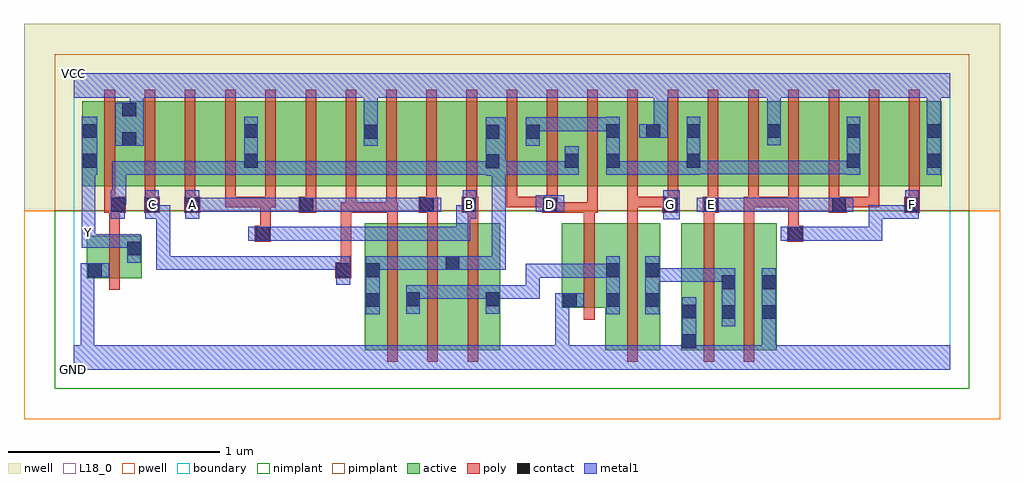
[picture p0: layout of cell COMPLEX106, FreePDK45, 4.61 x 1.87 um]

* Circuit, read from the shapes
.subckt COMPLEX106 A B C D E F G GND VCC Y
M1 Y n1 GND VSUBS nfet w=0.2u l=0.05u
M2 n2 C n1 VSUBS nfet w=0.6u l=0.05u
M3 n1 A n2 VSUBS nfet w=0.6u l=0.05u
M4 n2 B n1 VSUBS nfet w=0.6u l=0.05u
M5 n2 D GND VSUBS nfet w=0.4u l=0.05u
M6 n3 G n2 VSUBS nfet w=0.6u l=0.05u
M7 n3 E GND VSUBS nfet w=0.6u l=0.05u
M8 GND F n3 VSUBS nfet w=0.6u l=0.05u
M9 VCC n1 Y n4 pfet w=0.4u l=0.05u
M10 n5 C VCC n4 pfet w=0.4u l=0.05u
M11 n6 A n5 n4 pfet w=0.4u l=0.05u
M12 n1 B n6 n4 pfet w=0.4u l=0.05u
M13 n7 B n1 n4 pfet w=0.4u l=0.05u
M14 n8 A n7 n4 pfet w=0.4u l=0.05u
M15 VCC C n8 n4 pfet w=0.4u l=0.05u
M16 n9 C VCC n4 pfet w=0.4u l=0.05u
M17 n10 A n9 n4 pfet w=0.4u l=0.05u
M18 n1 B n10 n4 pfet w=0.4u l=0.05u
M19 n11 D n1 n4 pfet w=0.4u l=0.05u m=3
M20 VCC G n11 n4 pfet w=0.4u l=0.05u m=2
M21 n12 E n11 n4 pfet w=0.4u l=0.05u
M22 VCC F n12 n4 pfet w=0.4u l=0.05u
M23 n13 F VCC n4 pfet w=0.4u l=0.05u
M24 n11 E n13 n4 pfet w=0.4u l=0.05u
M25 n14 E n11 n4 pfet w=0.4u l=0.05u
M26 VCC F n14 n4 pfet w=0.4u l=0.05u
.ends

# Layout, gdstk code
import gdstk
lib = gdstk.Library(unit=1e-6, precision=1e-09)
def R(c, l, rs):  # rectangles x0, y0, x1, y1
    for r in rs: c.add(gdstk.rectangle(r[:2], r[2:], *l))
def A(c, l, x, y, w, h, nx, ny, dx, dy):  # array of equal rectangles
    R(c, l, [(x+i*dx, y+j*dy, x+i*dx+w, y+j*dy+h) for i in range(nx) for j in range(ny)])
active = (1, 0)
pwell = (2, 0)
nwell = (3, 0)
nimplant = (4, 0)
pimplant = (5, 0)
poly = (9, 0)
contact = (10, 0)
metal1 = (11, 0)
L18_0 = (18, 0)
boundary = (235, 0)

complex106 = lib.new_cell('COMPLEX106')
A(complex106, active, 0.455, 0.867, 0.19, 0.4, 3, 1, 0.57, 0)
A(complex106, active, 2.13, 0.867, 0.075, 0.333, 3, 1, 0.38, 0)
R(complex106, active, [(1.375,0.092,1.64,0.692), (1.565,0.092,1.827,0.692), (1.752,0.092,2.015,0.692), (2.51,0.092,2.77,0.692), (2.87,0.092,3.13,0.692), (2.87,0.092,2.945,0.692), (3.055,0.092,3.32,0.692), (1.375,0.095,1.45,0.692), (1.565,0.095,1.64,0.68), (1.752,0.095,1.827,0.692), (1.94,0.095,2.015,0.692), (2.695,0.095,2.77,0.692), (3.055,0.095,3.13,0.692), (3.245,0.095,3.32,0.692), (2.51,0.2,2.585,0.507), (2.305,0.292,2.585,0.692), (2.305,0.292,2.38,0.597), (0.062,0.432,0.137,0.632), (0.062,0.432,0.322,0.632), (0.247,0.432,0.322,0.632), (0.04,0.867,0.115,1.2), (0.04,0.867,0.3,1.267), (0.225,0.867,0.3,1.267), (0.225,0.867,0.455,1.267), (0.645,0.867,0.875,1.267), (0.8,0.867,1.025,1.267), (0.8,0.867,0.875,1.2), (1.215,0.867,1.44,1.267), (1.365,0.867,1.44,1.267), (1.365,0.867,1.595,1.267), (1.785,0.867,2.015,1.267), (1.94,0.867,2.015,1.2), (1.94,0.867,2.205,1.267), (2.13,0.867,2.39,1.267), (2.315,0.867,2.585,1.267), (2.315,0.867,2.39,1.07), (2.51,0.867,2.775,1.267), (2.7,0.867,2.775,1.267), (2.7,0.867,2.965,1.267), (2.89,0.867,3.115,1.267), (3.115,0.867,3.345,1.267), (3.27,0.867,3.345,1.267), (3.27,0.867,3.495,1.267), (3.495,0.867,3.72,1.267), (3.645,0.867,3.875,1.267), (3.645,0.867,3.72,1.2), (3.875,0.867,4.1,1.267), (4.025,0.867,4.1,1.267)])
R(complex106, pwell, [(-0.235,-0.235,4.375,0.75)])
R(complex106, nwell, [(-0.235,0.75,4.375,1.635)])
R(complex106, nimplant, [(-0.09,-0.09,4.23,0.75)])
R(complex106, pimplant, [(-0.09,0.75,4.23,1.49)])
A(complex106, poly, 1.48, 0.037, 0.05, 0.71, 3, 1, 0.19, 0)
A(complex106, poly, 1.48, 0.697, 0.05, 0.095, 3, 1, 0.19, 0)
A(complex106, poly, 0.145, 0.767, 0.05, 0.095, 6, 1, 0.19, 0)
A(complex106, poly, 1.665, 0.767, 0.05, 0.095, 4, 1, 0.19, 0)
A(complex106, poly, 2.615, 0.767, 0.05, 0.095, 8, 1, 0.19, 0)
A(complex106, poly, 0.145, 0.812, 0.05, 0.51, 21, 1, 0.19, 0)
R(complex106, poly, [(2.615,0.037,2.665,0.747), (2.975,0.037,3.025,0.747), (3.165,0.037,3.215,0.747), (2.41,0.237,2.46,0.747), (0.167,0.377,0.217,0.687), (1.235,0.432,1.31,0.507), (1.26,0.457,1.31,0.792), (0.855,0.605,0.93,0.68), (3.37,0.605,3.445,0.68), (0.88,0.63,0.93,0.68), (0.88,0.63,0.93,0.68), (0.88,0.63,0.93,0.817), (3.375,0.63,3.425,0.817), (0.167,0.637,0.217,0.792), (2.41,0.697,2.46,0.792), (2.615,0.697,2.665,0.817), (2.975,0.697,3.025,0.792), (3.165,0.697,3.215,0.817), (0.145,0.742,0.245,0.817), (0.332,0.742,0.407,0.817), (0.522,0.742,0.597,0.817), (1.062,0.742,1.145,0.817), (1.26,0.742,1.31,0.792), (1.26,0.742,1.31,0.792), (1.26,0.742,1.335,0.792), (1.285,0.742,1.525,0.792), (1.285,0.742,1.335,0.862), (1.475,0.742,1.525,0.792), (1.475,0.742,1.525,0.792), (1.475,0.742,1.525,0.862), (1.475,0.742,1.53,0.792), (1.63,0.742,1.72,0.817), (1.832,0.742,1.91,0.817), (2.212,0.742,2.287,0.817), (2.237,0.742,2.287,0.792), (2.237,0.742,2.287,0.792), (2.237,0.742,2.46,0.792), (2.41,0.742,2.475,0.792), (2.425,0.742,2.475,0.862), (2.78,0.742,2.855,0.817), (2.972,0.742,3.047,0.817), (3.565,0.742,3.652,0.817), (3.922,0.742,3.997,0.817), (0.715,0.767,0.765,0.817), (0.715,0.767,0.93,0.817), (0.88,0.767,0.93,0.817), (0.88,0.767,0.93,0.817), (0.88,0.767,0.955,0.817), (2.045,0.767,2.095,0.817), (2.045,0.767,2.095,0.817), (2.045,0.767,2.095,0.817), (2.045,0.767,2.262,0.817), (2.615,0.767,2.665,0.817), (2.615,0.767,2.665,0.817), (2.615,0.767,2.665,0.817), (2.615,0.767,2.83,0.817), (3.165,0.767,3.235,0.817), (3.185,0.767,3.235,0.817), (3.185,0.767,3.235,0.817), (3.185,0.767,3.425,0.817), (3.375,0.767,3.425,0.817), (3.375,0.767,3.425,0.817), (3.375,0.767,3.425,0.817), (3.602,0.767,3.805,0.817), (3.755,0.767,3.805,0.817), (3.755,0.767,3.805,0.817), (3.755,0.767,3.805,0.817)])
A(complex106, contact, 2.515, 1.095, 0.065, 0.065, 3, 1, 0.19, 0)
R(complex106, contact, [(2.875,0.102,2.94,0.167), (3.06,0.24,3.125,0.305), (3.25,0.24,3.315,0.305), (2.875,0.242,2.94,0.307), (1.38,0.297,1.445,0.362), (2.31,0.297,2.375,0.362), (2.515,0.297,2.58,0.362), (2.7,0.297,2.765,0.362), (1.57,0.3,1.635,0.365), (1.945,0.3,2.01,0.365), (3.06,0.38,3.125,0.445), (3.25,0.38,3.315,0.445), (0.067,0.437,0.132,0.502), (1.24,0.437,1.305,0.502), (1.38,0.437,1.445,0.502), (2.515,0.437,2.58,0.502), (2.7,0.437,2.765,0.502), (1.757,0.472,1.822,0.537), (0.252,0.54,0.317,0.605), (0.86,0.61,0.925,0.675), (3.375,0.61,3.44,0.675), (0.175,0.747,0.24,0.812), (0.337,0.747,0.402,0.812), (0.527,0.747,0.592,0.812), (1.067,0.747,1.132,0.812), (1.635,0.747,1.7,0.812), (1.837,0.747,1.902,0.812), (2.217,0.747,2.282,0.812), (2.785,0.747,2.85,0.812), (2.977,0.747,3.042,0.812), (3.582,0.747,3.647,0.812), (3.927,0.747,3.992,0.812), (1.945,0.952,2.01,1.017), (0.045,0.955,0.11,1.02), (0.805,0.955,0.87,1.02), (2.32,0.955,2.385,1.02), (2.515,0.955,2.58,1.02), (2.895,0.955,2.96,1.02), (3.65,0.955,3.715,1.02), (4.03,0.955,4.095,1.02), (0.23,1.057,0.295,1.122), (1.37,1.092,1.435,1.157), (1.945,1.092,2.01,1.157), (2.135,1.092,2.2,1.157), (0.045,1.095,0.11,1.16), (0.805,1.095,0.87,1.16), (3.275,1.095,3.34,1.16), (3.65,1.095,3.715,1.16), (4.03,1.095,4.095,1.16), (0.23,1.197,0.295,1.262)])
R(complex106, metal1, [(0,0,4.14,0.115), (0.032,0.05,0.097,0.115), (0.032,0.05,0.097,0.115), (0.032,0.05,0.097,0.502), (2.275,0.05,2.34,0.362), (2.875,0.05,2.94,0.132), (3.25,0.05,3.315,0.27), (2.875,0.067,2.94,0.342), (3.06,0.205,3.125,0.48), (3.25,0.205,3.315,0.48), (1.38,0.262,1.445,0.537), (2.515,0.262,2.58,0.537), (2.7,0.262,2.765,0.537), (1.57,0.265,1.635,0.4), (1.945,0.265,2.01,0.4), (2.275,0.297,2.34,0.362), (2.275,0.297,2.34,0.362), (2.275,0.297,2.41,0.362), (1.57,0.335,1.635,0.4), (1.57,0.335,1.635,0.4), (1.57,0.335,1.872,0.4), (1.807,0.335,1.872,0.4), (1.807,0.335,1.872,0.4), (1.807,0.335,1.872,0.4), (1.807,0.335,2.01,0.4), (1.945,0.335,2.062,0.4), (1.997,0.335,2.062,0.4), (1.997,0.335,2.2,0.4), (2.135,0.335,2.2,0.4), (2.135,0.335,2.2,0.5), (1.24,0.402,1.305,0.537), (2.7,0.415,2.765,0.48), (2.7,0.415,2.765,0.48), (2.7,0.415,2.902,0.48), (2.837,0.415,2.902,0.48), (2.837,0.415,3.125,0.48), (3.06,0.415,3.125,0.48), (3.06,0.415,3.125,0.48), (2.135,0.435,2.2,0.5), (2.135,0.435,2.2,0.5), (2.135,0.435,2.2,0.5), (2.135,0.435,2.2,0.5), (2.135,0.435,2.2,0.5), (2.135,0.435,2.337,0.5), (2.272,0.435,2.337,0.5), (2.272,0.435,2.337,0.5), (2.272,0.435,2.337,0.5), (2.272,0.435,2.58,0.5), (0.032,0.437,0.097,0.502), (0.032,0.437,0.097,0.502), (0.032,0.437,0.097,0.502), (0.032,0.437,0.097,0.502), (0.032,0.437,0.167,0.502), (0.39,0.472,0.455,0.537), (0.39,0.472,0.592,0.537), (0.39,0.472,0.455,0.777), (0.527,0.472,0.592,0.537), (0.527,0.472,0.592,0.537), (0.527,0.472,0.592,0.537), (0.527,0.472,0.73,0.537), (0.665,0.472,0.73,0.537), (0.665,0.472,0.73,0.537), (0.665,0.472,0.73,0.537), (0.665,0.472,0.73,0.537), (0.665,0.472,0.73,0.537), (0.665,0.472,0.73,0.537), (0.665,0.472,0.73,0.537), (0.665,0.472,0.867,0.537), (0.802,0.472,0.867,0.537), (0.802,0.472,1.03,0.537), (0.965,0.472,1.03,0.537), (0.965,0.472,1.167,0.537), (1.102,0.472,1.167,0.537), (1.102,0.472,1.167,0.537), (1.102,0.472,1.167,0.537), (1.102,0.472,1.167,0.537), (1.102,0.472,1.167,0.537), (1.102,0.472,1.305,0.537), (1.38,0.472,1.445,0.537), (1.38,0.472,1.445,0.537), (1.38,0.472,1.635,0.537), (1.57,0.472,1.635,0.537), (1.57,0.472,1.635,0.537), (1.57,0.472,1.635,0.537), (1.57,0.472,1.787,0.537), (1.722,0.472,1.857,0.537), (1.792,0.472,1.872,0.537), (1.807,0.472,1.872,0.537), (1.807,0.472,2.04,0.537), (1.975,0.472,2.04,0.537), (1.975,0.472,2.04,0.537), (1.975,0.472,2.04,0.537), (1.975,0.472,2.04,0.982), (0.252,0.505,0.317,0.64), (0.037,0.575,0.102,0.64), (0.037,0.575,0.102,0.64), (0.037,0.575,0.102,0.64), (0.037,0.575,0.317,0.64), (0.037,0.575,0.102,0.647), (0.037,0.582,0.102,0.717), (0.825,0.61,0.96,0.675), (0.895,0.61,1.03,0.675), (0.965,0.61,1.03,0.675), (0.965,0.61,1.03,0.675), (0.965,0.61,1.03,0.675), (0.965,0.61,1.167,0.675), (1.102,0.61,1.167,0.675), (1.102,0.61,1.167,0.675), (1.102,0.61,1.167,0.675), (1.102,0.61,1.305,0.675), (1.24,0.61,1.305,0.675), (1.24,0.61,1.442,0.675), (1.377,0.61,1.442,0.675), (1.377,0.61,1.442,0.675), (1.377,0.61,1.442,0.675), (1.377,0.61,1.635,0.675), (1.57,0.61,1.635,0.675), (1.57,0.61,1.635,0.675), (1.57,0.61,1.635,0.675), (1.57,0.61,1.872,0.675), (1.807,0.61,1.872,0.675), (1.807,0.61,1.872,0.777), (3.34,0.61,3.475,0.675), (3.41,0.61,3.475,0.675), (3.41,0.61,3.475,0.675), (3.41,0.61,3.475,0.675), (3.41,0.61,3.475,0.675), (3.41,0.61,3.612,0.675), (3.547,0.61,3.612,0.675), (3.547,0.61,3.82,0.675), (3.755,0.61,3.82,0.675), (3.755,0.61,3.82,0.777), (0.037,0.652,0.102,0.985), (2.785,0.71,2.862,0.847), (0.175,0.712,0.24,0.847), (0.337,0.712,0.402,0.847), (0.337,0.712,0.455,0.777), (0.39,0.712,0.455,0.777), (0.527,0.712,0.592,0.847), (1.807,0.712,1.872,0.777), (1.807,0.712,1.902,0.777), (1.837,0.712,1.902,0.847), (3.755,0.712,3.855,0.777), (3.755,0.712,3.82,0.777), (3.79,0.712,3.957,0.777), (3.79,0.712,3.855,0.777), (3.892,0.712,3.992,0.777), (3.892,0.712,3.957,0.777), (3.927,0.712,3.992,0.847), (0.527,0.747,0.592,0.812), (0.527,0.747,0.592,0.812), (0.527,0.747,0.73,0.812), (0.665,0.747,0.73,0.812), (0.665,0.747,0.892,0.812), (0.827,0.747,0.892,0.812), (0.827,0.747,0.892,0.812), (0.827,0.747,0.892,0.812), (0.827,0.747,1.03,0.812), (0.965,0.747,1.03,0.812), (0.965,0.747,1.097,0.812), (1.032,0.747,1.167,0.812), (1.102,0.747,1.167,0.812), (1.102,0.747,1.167,0.812), (1.102,0.747,1.305,0.812), (1.24,0.747,1.305,0.812), (1.24,0.747,1.497,0.812), (1.432,0.747,1.497,0.812), (1.432,0.747,1.497,0.812), (1.432,0.747,1.497,0.812), (1.432,0.747,1.635,0.812), (1.57,0.747,1.635,0.812), (1.57,0.747,1.665,0.812), (1.6,0.747,1.735,0.812), (2.182,0.747,2.317,0.825), (2.942,0.747,3.077,0.812), (3.012,0.747,3.097,0.812), (3.032,0.747,3.097,0.812), (3.032,0.747,3.267,0.812), (3.202,0.747,3.267,0.812), (3.202,0.747,3.267,0.812), (3.202,0.747,3.267,0.812), (3.202,0.747,3.405,0.812), (3.34,0.747,3.405,0.812), (3.34,0.747,3.405,0.812), (3.34,0.747,3.405,0.812), (3.34,0.747,3.612,0.812), (3.547,0.747,3.682,0.812), (0.175,0.782,0.247,0.847), (0.182,0.782,0.247,0.847), (0.182,0.782,0.247,0.985), (1.945,0.917,2.04,1.192), (1.975,0.917,2.04,0.982), (1.975,0.917,2.04,0.982), (0.037,0.92,0.11,1.195), (0.182,0.92,0.247,0.985), (0.182,0.92,0.455,0.985), (0.39,0.92,0.455,0.985), (0.39,0.92,0.455,0.985), (0.39,0.92,0.455,0.985), (0.39,0.92,0.592,0.985), (0.527,0.92,0.592,0.985), (0.527,0.92,0.592,0.985), (0.527,0.92,0.592,0.985), (0.527,0.92,0.73,0.985), (0.665,0.92,0.73,0.985), (0.665,0.92,0.87,0.985), (0.805,0.92,0.87,1.195), (0.805,0.92,0.87,0.985), (0.805,0.92,0.87,0.985), (0.805,0.92,1.03,0.985), (0.965,0.92,1.03,0.985), (0.965,0.92,1.167,0.985), (1.102,0.92,1.167,0.985), (1.102,0.92,1.167,0.985), (1.102,0.92,1.167,0.985), (1.102,0.92,1.305,0.985), (1.24,0.92,1.305,0.985), (1.24,0.92,1.442,0.985), (1.377,0.92,1.442,0.985), (1.377,0.92,1.442,0.985), (1.377,0.92,1.442,0.985), (1.377,0.92,1.635,0.985), (1.57,0.92,1.635,0.985), (1.57,0.92,1.635,0.985), (1.57,0.92,1.635,0.985), (1.57,0.92,1.872,0.985), (1.807,0.92,1.872,0.985), (1.807,0.92,1.872,0.985), (1.807,0.92,1.872,0.985), (1.807,0.92,2.01,0.985), (1.975,0.92,2.04,0.985), (1.975,0.92,2.04,0.985), (1.975,0.92,2.2,0.985), (2.135,0.92,2.2,0.985), (2.135,0.92,2.2,0.985), (2.135,0.92,2.2,0.985), (2.135,0.92,2.385,0.985), (2.32,0.92,2.385,1.055), (2.515,0.92,2.58,1.195), (2.515,0.92,2.58,0.985), (2.515,0.92,2.58,0.985), (2.515,0.92,2.58,0.985), (2.515,0.92,2.58,0.985), (2.515,0.92,2.717,0.985), (2.652,0.92,2.717,0.985), (2.652,0.92,2.717,0.985), (2.652,0.92,2.717,0.985), (2.652,0.92,2.96,0.985), (2.895,0.92,2.96,1.195), (3.65,0.92,3.715,1.195), (4.03,0.92,4.095,1.195), (2.895,0.922,3.097,0.987), (3.032,0.922,3.097,0.987), (3.032,0.922,3.097,0.987), (3.032,0.922,3.097,0.987), (3.032,0.922,3.262,0.987), (3.197,0.922,3.262,0.987), (3.197,0.922,3.262,0.987), (3.197,0.922,3.262,0.987), (3.197,0.922,3.405,0.987), (3.34,0.922,3.405,0.987), (3.34,0.922,3.405,0.987), (3.34,0.922,3.405,0.987), (3.34,0.922,3.715,0.987), (3.65,0.922,3.715,0.987), (3.65,0.922,3.715,0.987), (0.195,1.057,0.33,1.262), (1.37,1.057,1.435,1.192), (2.135,1.057,2.2,1.192), (3.275,1.06,3.34,1.195), (2.67,1.095,2.805,1.16), (2.74,1.095,2.805,1.35), (1.37,1.127,1.435,1.35), (2.135,1.127,2.2,1.192), (2.135,1.127,2.2,1.192), (2.135,1.127,2.442,1.192), (2.377,1.127,2.442,1.192), (2.377,1.127,2.442,1.192), (2.377,1.127,2.442,1.192), (2.377,1.127,2.58,1.192), (3.275,1.13,3.34,1.35), (4.03,1.13,4.095,1.35), (0.265,1.197,0.33,1.35), (0,1.285,4.14,1.4)])
R(complex106, L18_0, [(0,0,4.14,0.115), (0.032,0.05,0.097,0.115), (0.032,0.05,0.097,0.115), (0.032,0.05,0.097,0.502), (2.275,0.05,2.34,0.362), (2.875,0.05,2.94,0.132), (3.25,0.05,3.315,0.27), (2.875,0.067,2.94,0.342), (3.25,0.205,3.315,0.48), (2.275,0.297,2.34,0.362), (2.275,0.297,2.34,0.362), (2.275,0.297,2.41,0.362), (1.24,0.402,1.305,0.537), (0.032,0.437,0.097,0.502), (0.032,0.437,0.097,0.502), (0.032,0.437,0.097,0.502), (0.032,0.437,0.097,0.502), (0.032,0.437,0.167,0.502), (0.39,0.472,0.455,0.537), (0.39,0.472,0.455,0.777), (0.39,0.472,0.592,0.537), (0.527,0.472,0.592,0.537), (0.527,0.472,0.592,0.537), (0.527,0.472,0.592,0.537), (0.527,0.472,0.73,0.537), (0.665,0.472,0.73,0.537), (0.665,0.472,0.73,0.537), (0.665,0.472,0.73,0.537), (0.665,0.472,0.73,0.537), (0.665,0.472,0.73,0.537), (0.665,0.472,0.73,0.537), (0.665,0.472,0.73,0.537), (0.665,0.472,0.867,0.537), (0.802,0.472,0.867,0.537), (0.802,0.472,1.03,0.537), (0.965,0.472,1.03,0.537), (0.965,0.472,1.167,0.537), (1.102,0.472,1.167,0.537), (1.102,0.472,1.167,0.537), (1.102,0.472,1.167,0.537), (1.102,0.472,1.167,0.537), (1.102,0.472,1.167,0.537), (1.102,0.472,1.305,0.537), (0.252,0.505,0.317,0.64), (0.037,0.575,0.102,0.64), (0.037,0.575,0.102,0.64), (0.037,0.575,0.102,0.64), (0.037,0.575,0.102,0.647), (0.037,0.575,0.317,0.64), (0.037,0.582,0.102,0.717), (0.825,0.61,0.96,0.675), (0.895,0.61,1.03,0.675), (0.965,0.61,1.03,0.675), (0.965,0.61,1.03,0.675), (0.965,0.61,1.03,0.675), (0.965,0.61,1.167,0.675), (1.102,0.61,1.167,0.675), (1.102,0.61,1.167,0.675), (1.102,0.61,1.167,0.675), (1.102,0.61,1.305,0.675), (1.24,0.61,1.305,0.675), (1.24,0.61,1.442,0.675), (1.377,0.61,1.442,0.675), (1.377,0.61,1.442,0.675), (1.377,0.61,1.442,0.675), (1.377,0.61,1.635,0.675), (1.57,0.61,1.635,0.675), (1.57,0.61,1.635,0.675), (1.57,0.61,1.635,0.675), (1.57,0.61,1.872,0.675), (1.807,0.61,1.872,0.675), (1.807,0.61,1.872,0.777), (3.34,0.61,3.475,0.675), (3.41,0.61,3.475,0.675), (3.41,0.61,3.475,0.675), (3.41,0.61,3.475,0.675), (3.41,0.61,3.475,0.675), (3.41,0.61,3.612,0.675), (3.547,0.61,3.612,0.675), (3.547,0.61,3.82,0.675), (3.755,0.61,3.82,0.675), (3.755,0.61,3.82,0.777), (0.037,0.617,0.102,0.682), (0.037,0.652,0.102,0.985), (2.785,0.71,2.862,0.847), (0.337,0.712,0.402,0.847), (0.337,0.712,0.455,0.777), (0.39,0.712,0.455,0.777), (0.527,0.712,0.592,0.847), (1.807,0.712,1.872,0.777), (1.807,0.712,1.902,0.777), (1.837,0.712,1.902,0.847), (3.755,0.712,3.82,0.777), (3.755,0.712,3.855,0.777), (3.79,0.712,3.855,0.777), (3.79,0.712,3.957,0.777), (3.892,0.712,3.957,0.777), (3.892,0.712,3.992,0.777), (3.927,0.712,3.992,0.847), (0.337,0.747,0.402,0.812), (0.527,0.747,0.592,0.812), (0.527,0.747,0.592,0.812), (0.527,0.747,0.592,0.812), (0.527,0.747,0.73,0.812), (0.665,0.747,0.73,0.812), (0.665,0.747,0.892,0.812), (0.827,0.747,0.892,0.812), (0.827,0.747,0.892,0.812), (0.827,0.747,0.892,0.812), (0.827,0.747,1.03,0.812), (0.965,0.747,1.03,0.812), (0.965,0.747,1.097,0.812), (1.032,0.747,1.167,0.812), (1.102,0.747,1.167,0.812), (1.102,0.747,1.167,0.812), (1.102,0.747,1.305,0.812), (1.24,0.747,1.305,0.812), (1.24,0.747,1.497,0.812), (1.432,0.747,1.497,0.812), (1.432,0.747,1.497,0.812), (1.432,0.747,1.497,0.812), (1.432,0.747,1.635,0.812), (1.57,0.747,1.635,0.812), (1.57,0.747,1.665,0.812), (1.6,0.747,1.735,0.812), (1.837,0.747,1.902,0.812), (2.182,0.747,2.317,0.825), (2.217,0.747,2.282,0.812), (2.787,0.747,2.852,0.812), (2.942,0.747,3.077,0.812), (2.977,0.747,3.042,0.812), (3.012,0.747,3.097,0.812), (3.032,0.747,3.097,0.812), (3.032,0.747,3.267,0.812), (3.202,0.747,3.267,0.812), (3.202,0.747,3.267,0.812), (3.202,0.747,3.267,0.812), (3.202,0.747,3.405,0.812), (3.34,0.747,3.405,0.812), (3.34,0.747,3.405,0.812), (3.34,0.747,3.405,0.812), (3.34,0.747,3.612,0.812), (3.547,0.747,3.682,0.812), (3.927,0.747,3.992,0.812), (0.037,0.92,0.11,1.195), (4.03,0.92,4.095,1.195), (0.195,1.057,0.33,1.262), (1.37,1.057,1.435,1.192), (3.275,1.06,3.34,1.195), (2.67,1.095,2.805,1.16), (2.74,1.095,2.805,1.35), (1.37,1.127,1.435,1.35), (3.275,1.13,3.34,1.35), (4.03,1.13,4.095,1.35), (0.265,1.197,0.33,1.35), (0,1.285,4.14,1.4)])
R(complex106, boundary, [(0,0,4.14,1.4)])
complex106.add(gdstk.Label('A', (0.56,0.78), layer=11, texttype=0))
complex106.add(gdstk.Label('B', (1.87,0.78), layer=11, texttype=0))
complex106.add(gdstk.Label('C', (0.37,0.78), layer=11, texttype=0))
complex106.add(gdstk.Label('D', (2.25,0.78), layer=11, texttype=0))
complex106.add(gdstk.Label('E', (3.01,0.78), layer=11, texttype=0))
complex106.add(gdstk.Label('F', (3.96,0.78), layer=11, texttype=0))
complex106.add(gdstk.Label('G', (2.82,0.78), layer=11, texttype=0))
complex106.add(gdstk.Label('Y', (0.07,0.65), layer=11, texttype=0))
complex106.add(gdstk.Label('VCC', (0,1.4), layer=11, texttype=0))
complex106.add(gdstk.Label('GND', (0,0), layer=11, texttype=0))

lib.write_gds('COMPLEX106.gds')
